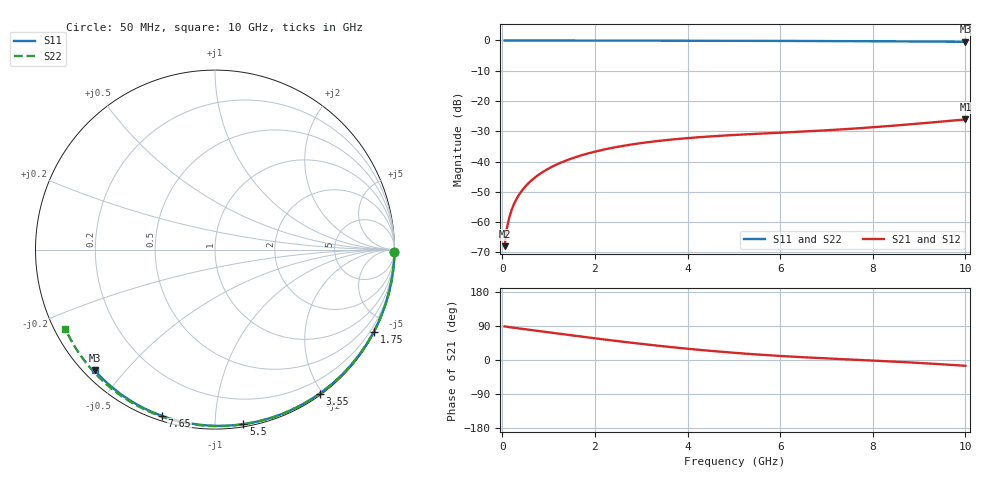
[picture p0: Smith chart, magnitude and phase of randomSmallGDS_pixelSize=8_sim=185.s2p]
! freq	dB(S11)	phase(S11)	dB(S12)	phase(S12)
!  dB(S21)	phase(S21)	dB(S22)	phase(S22)
!S-par simulation data
#  GHz  S  DB  R 50
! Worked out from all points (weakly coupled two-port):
!   200 points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, 50 MHz to 10 GHz, reference 50 ohm
!   highest |S21| = -26.10 dB at 10 GHz (marker M1); lowest = -67.9 dB at 50 MHz (marker M2)
!   lowest |S11| = -0.4 dB at 10 GHz (marker M3), VSWR 38.67, Z = 1.52 - j20.8 ohm
!   |S11| at or under -10 dB: nowhere
!   |S22| runs from -0.5 to 0.0 dB; largest |S21 - S12| = 0
!   S11 on the Smith chart (normalised r, x): 50 MHz: open; 1.75 GHz: 0.04, -4.12; 3.55 GHz: 0.02, -1.96; 5.5 GHz: 0.02, -1.18; 7.65 GHz: 0.02, -0.73; 10 GHz: 0.03, -0.42
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0.05  -0.00 -0.8  -67.94 88.7  -67.94 88.7  -0.00 -0.9
0.1  -0.00 -1.6  -61.97 87.6  -61.97 87.6  -0.00 -1.8
0.15  -0.00 -2.4  -58.49 86.7  -58.49 86.7  -0.00 -2.7
0.2  -0.00 -3.2  -56.03 85.8  -56.03 85.8  -0.00 -3.6
0.25  -0.00 -4.0  -54.12 85.0  -54.12 85.0  -0.00 -4.5
0.35  -0.00 -5.5  -51.24 83.5  -51.24 83.5  -0.00 -6.3
0.5  -0.01 -7.9  -48.19 81.1  -48.19 81.1  -0.01 -9.0
0.7  -0.01 -11.1  -45.32 77.9  -45.32 77.9  -0.01 -12.5
1  -0.02 -15.7  -42.30 73.1  -42.30 73.1  -0.02 -17.8
1.35  -0.03 -21.2  -39.82 67.4  -39.82 67.4  -0.03 -24.0
1.75  -0.03 -27.3  -37.75 61.1  -37.75 61.1  -0.04 -30.9
2.5  -0.05 -38.6  -35.11 49.7  -35.11 49.7  -0.06 -43.7
3.4  -0.07 -51.9  -33.14 37.2  -33.14 37.2  -0.08 -58.5
3.55  -0.07 -54.0  -32.89 35.2  -32.89 35.2  -0.08 -60.9
4.3  -0.09 -64.6  -31.90 26.2  -31.90 26.2  -0.10 -72.7
5.05  -0.12 -74.8  -31.18 18.5  -31.18 18.5  -0.13 -84.1
5.5  -0.13 -80.8  -30.83 14.6  -30.83 14.6  -0.15 -90.7
6.7  -0.19 -96.1  -29.92 6.0  -29.92 6.0  -0.21 -107.7
7.65  -0.24 -107.6  -29.05 0.6  -29.05 0.6  -0.27 -120.7
8.35  -0.29 -115.9  -28.26 -3.5  -28.26 -3.5  -0.33 -130.1
9.2  -0.37 -125.8  -27.18 -9.2  -27.18 -9.2  -0.41 -141.3
10  -0.45 -134.9  -26.10 -15.3  -26.10 -15.3  -0.50 -152.0
